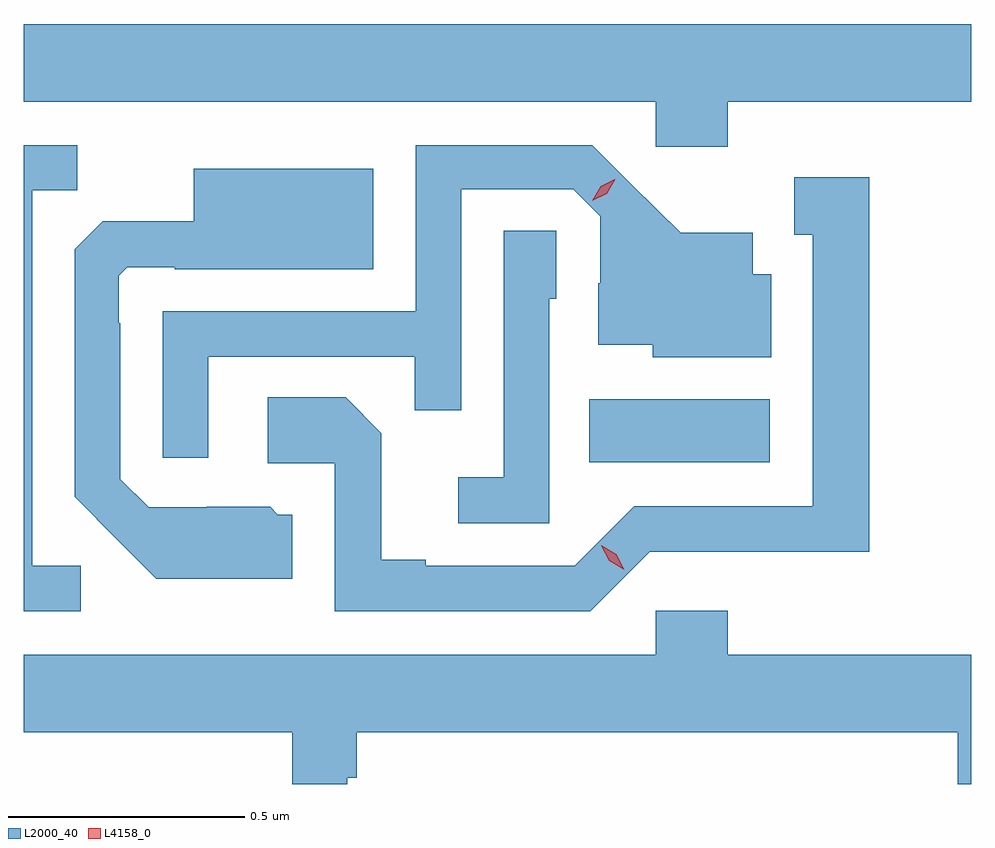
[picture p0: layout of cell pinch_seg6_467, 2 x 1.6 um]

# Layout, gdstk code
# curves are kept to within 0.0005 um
import gdstk
lib = gdstk.Library(unit=1e-6, precision=1e-09)
def R(c, l, rs):  # rectangles x0, y0, x1, y1
    for r in rs: c.add(gdstk.rectangle(r[:2], r[2:], *l))
def P(c, l, *ps):  # polygons
    for p in ps: c.add(gdstk.Polygon(p, *l))
L2000_40 = (2000, 40)
L4158_0 = (4158, 0)

pinch_seg6_467 = lib.new_cell('pinch_seg6_467')
R(pinch_seg6_467, L2000_40, [(701.914,929.258,702.295,929.392)])
P(pinch_seg6_467, L2000_40, [(702.206,930.02),(702.72,930.02),(702.72,930.184),(700.72,930.184),(700.72,930.02),(702.054,930.02),(702.054,929.925),(702.206,929.925)],
  [(701.109,929.481),(701.545,929.481),(701.545,929.368),(701.643,929.368),(701.643,929.835),(701.88,929.835),(701.937,929.778),(701.937,929.636),(701.933,929.636),(701.933,929.507),(702.048,929.507),(702.048,929.48),(702.298,929.48),(702.298,929.656),(702.259,929.656),(702.259,929.743),(702.107,929.743),(701.92,929.928),(701.547,929.928),(701.547,929.577),(701.013,929.577),(701.013,929.268),(701.109,929.268)],
  [(700.84,929.04),(700.737,929.04),(700.737,929.833),(700.833,929.833),(700.833,929.928),(700.72,929.928),(700.72,928.944),(700.84,928.944)],
  [(701.287,929.148),(701.256,929.148),(701.24,929.164),(701.106,929.164),(701.106,929.163),(700.983,929.163),(700.923,929.223),(700.923,929.552),(700.92,929.552),(700.92,929.652),(700.938,929.67),(701.038,929.67),(701.038,929.666),(701.458,929.666),(701.458,929.878),(701.078,929.878),(701.078,929.767),(700.886,929.767),(700.827,929.708),(700.827,929.186),(700.999,929.012),(701.287,929.012)],
  [(702.042,929.07),(702.264,929.07),(702.264,929.069),(702.505,929.069),(702.505,929.86),(702.347,929.86),(702.347,929.739),(702.386,929.739),(702.386,929.166),(702.009,929.166),(701.883,929.04),(701.569,929.04),(701.569,929.053),(701.475,929.053),(701.475,929.32),(701.399,929.396),(701.235,929.396),(701.235,929.256),(701.376,929.256),(701.376,928.944),(701.916,928.944)],
  [(701.829,929.604),(701.844,929.604),(701.844,929.747),(701.733,929.747),(701.733,929.227),(701.637,929.227),(701.637,929.13),(701.829,929.13)],
  [(701.403,928.592),(701.423,928.592),(701.423,928.688),(702.692,928.688),(702.692,928.579),(702.72,928.579),(702.72,928.852),(702.206,928.852),(702.206,928.945),(702.054,928.945),(702.054,928.852),(700.72,928.852),(700.72,928.688),(701.287,928.688),(701.287,928.579),(701.403,928.579)])
P(pinch_seg6_467, L4158_0, [(701.988,929.031),(701.956,929.05),(701.939,929.082),(701.939,929.083),(701.939,929.083),(701.971,929.064),(701.988,929.031),(701.988,929.031)],
  [(701.92,929.811),(701.92,929.811),(701.938,929.841),(701.968,929.856),(701.969,929.856),(701.969,929.856),(701.951,929.826),(701.92,929.811)])

lib.write_gds('pinch_seg6_467.gds')
